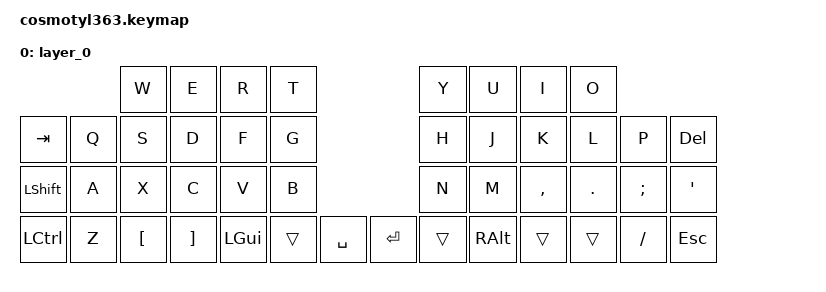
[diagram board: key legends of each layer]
/*
 * Copyright (c) 2024 Dmitrii Mozgovoi
 *
 * SPDX-License-Identifier: MIT
 */

#include <behaviors.dtsi>
#include <dt-bindings/zmk/keys.h>

/ {
    keymap {
        compatible = "zmk,keymap";

        layer_0 {
            bindings = <
                       &kp W             &kp E              &kp R         &kp T                       &kp Y   &kp U          &kp I      &kp O
&kp TAB         &kp Q  &kp S             &kp D              &kp F         &kp G                       &kp H   &kp J          &kp K      &kp L       &kp P          &kp DEL
&kp LEFT_SHIFT  &kp A  &kp X             &kp C              &kp V         &kp B                       &kp N   &kp M          &kp COMMA  &kp PERIOD  &kp SEMICOLON  &kp SQT
&kp LCTRL       &kp Z  &kp LEFT_BRACKET  &kp RIGHT_BRACKET  &kp LEFT_GUI  &trans  &kp SPACE  &kp RET  &trans  &kp RIGHT_ALT  &trans     &trans      &kp SLASH      &kp ESCAPE
            >;
        };
    };
};
